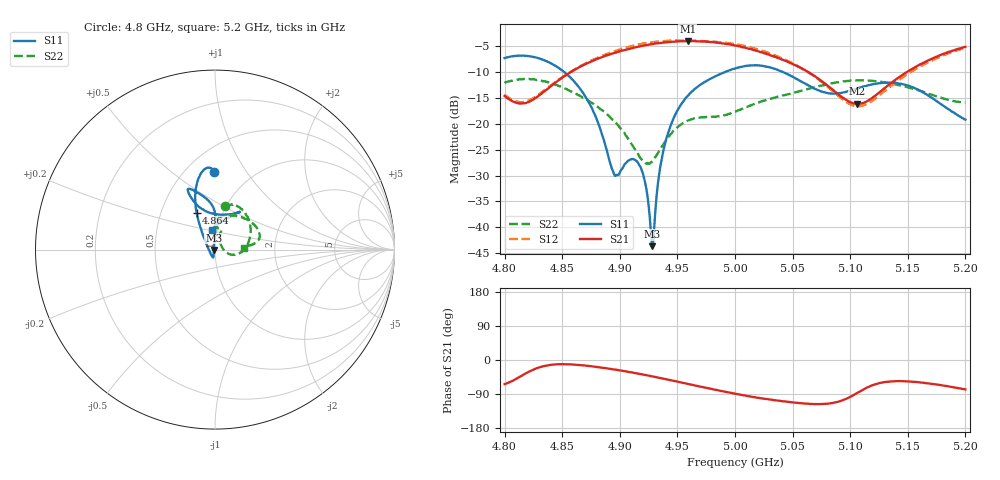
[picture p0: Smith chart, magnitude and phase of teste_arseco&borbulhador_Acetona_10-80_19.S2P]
! Network Analyzer HP8722D
! Hewlett-Packard
! Data name: Linha & Wilkinson
! Saver's name: Rodrigo Anjos
! Comments: Teste da utilização de aquisição
! continua pelo VNA HP8722D
! Time and date: 25/4/2025 15:25
!  Frequency  S11  S21  S12  S22
# HZ  S  MA R 50
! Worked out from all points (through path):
!   401 points, 4.8 GHz to 5.2 GHz, reference 50 ohm
!   highest |S21| = -3.96 dB at 4.959 GHz (marker M1); lowest = -16.1 dB at 5.106 GHz (marker M2)
!   lowest |S11| = -43.7 dB at 4.928 GHz (marker M3), VSWR 1.01, Z = 49.4 - j0.141 ohm
!   |S11| at or under -10 dB: 4.852 GHz to 4.991 GHz (138.8 MHz wide, 2.82 % of centre); 5.042 GHz to end of sweep
!   |S22| runs from -27.7 to -11.3 dB; largest |S21 - S12| = 1.2
!   S11 on the Smith chart (normalised r, x): 4.8 GHz: 0.68, +0.72; 4.864 GHz: 0.75, +0.33; 5.2 GHz: 0.94, +0.21
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4.8e9  0.4337 90.6  0.1867 -63.8  0.1909 69.6  0.2492 77.0
4.82e9  0.4536 96.8  0.1619 -32.6  0.1672 98.3  0.2717 61.3
4.843e9  0.3709 106.2  0.2458 -11.9  0.2491 118.8  0.2431 36.9
4.864e9  0.2307 116.4  0.3501 -12.8  0.3525 120.9  0.1899 12.0
4.867e9  0.2077 118.1  0.3639 -13.9  0.368 120.6  0.1825 8.7
4.88e9  0.1108 128.5  0.4234 -18.4  0.4333 118.3  0.1488 -5.5
4.895e9  0.03252 -173.2  0.4857 -25.0  0.5024 113.6  0.1072 -15.9
4.91e9  0.04549 -105.2  0.5387 -32.5  0.5642 107.0  0.06418 -13.6
4.917e9  0.03965 -101.9  0.5612 -36.5  0.5904 103.5  0.04815 -1.3
4.922e9  0.02709 -105.7  0.5764 -39.5  0.6033 100.6  0.04199 15.6
4.928e9  0.006567 -167.5  0.5929 -43.0  0.6182 96.9  0.04318 41.5
4.93e9  0.01063 123.9  0.5977 -44.3  0.6213 95.6  0.04614 47.9
4.934e9  0.03152 98.8  0.6038 -46.8  0.6284 93.3  0.05432 58.7
4.943e9  0.08905 90.6  0.6204 -52.7  0.6383 87.4  0.07631 69.0
4.959e9  0.1875 89.3  0.6336 -63.1  0.6403 77.3  0.1077 71.7
5e9  0.3445 109.0  0.5732 -89.2  0.5919 50.8  0.1312 88.4
5.03e9  0.3526 114.9  0.4669 -104.4  0.4815 33.9  0.1738 85.5
5.067e9  0.2258 105.1  0.3016 -115.9  0.2985 23.6  0.2223 57.1
5.106e9  0.2197 64.2  0.1566 -87.1  0.1483 55.9  0.2634 24.8
5.134e9  0.2511 56.9  0.2412 -56.9  0.2269 88.6  0.2481 12.3
5.169e9  0.1848 69.5  0.4185 -62.0  0.4021 84.8  0.1944 6.8
5.2e9  0.11 100.2  0.5567 -77.6  0.5448 70.0  0.161 3.9
